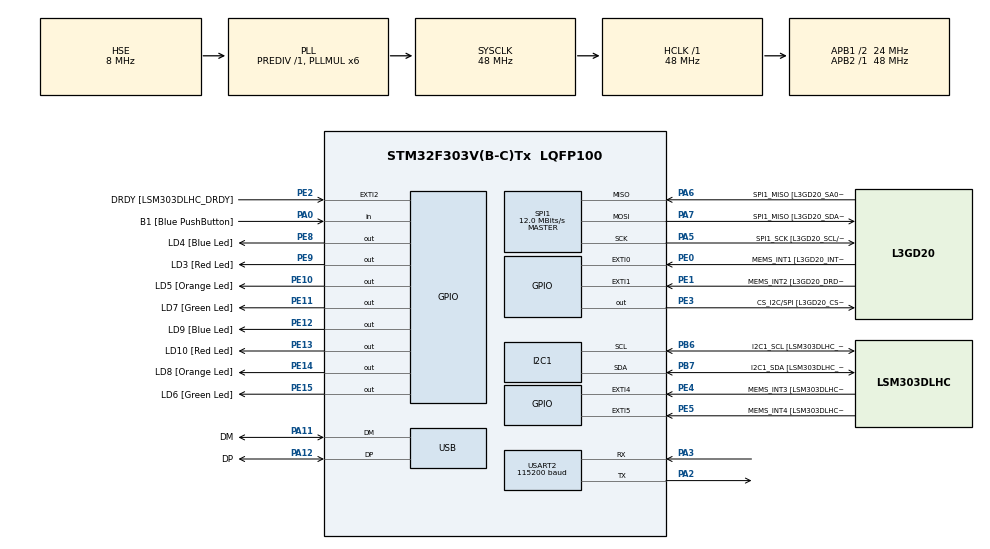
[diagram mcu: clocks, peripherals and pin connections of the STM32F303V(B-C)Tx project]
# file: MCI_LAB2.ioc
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I2C1.Timing=0x00201D2B
I2C1.Timing-I2C=0x2000090E
Mcu.Family=STM32F3
Mcu.Name=STM32F303V(B-C)Tx
Mcu.Package=LQFP100
NVIC.PriorityGroup=NVIC_PRIORITYGROUP_0
PA0.GPIO_Label=B1 [Blue PushButton]
PA0.Signal=GPIO_Input
PA11.GPIO_Label=DM
PA11.Mode=Device
PA11.Signal=USB_DM
PA12.GPIO_Label=DP
PA12.Mode=Device
PA12.Signal=USB_DP
PA13.GPIO_Label=SWDIO
PA13.Mode=Serial_Wire
PA13.Signal=SYS_JTMS-SWDIO
PA14.GPIO_Label=SWCLK
PA14.Mode=Serial_Wire
PA14.Signal=SYS_JTCK-SWCLK
PA2.Mode=Asynchronous
PA2.Signal=USART2_TX
PA3.Mode=Asynchronous
PA3.Signal=USART2_RX
PA5.GPIO_Label=SPI1_SCK [L3GD20_SCL/SPC]
PA5.Mode=Full_Duplex_Master
PA5.Signal=SPI1_SCK
PA6.GPIO_Label=SPI1_MISO [L3GD20_SA0/SDO]
PA6.Mode=Full_Duplex_Master
PA6.Signal=SPI1_MISO
PA7.GPIO_Label=SPI1_MISO [L3GD20_SDA/SDI/SDO]
PA7.Mode=Full_Duplex_Master
PA7.Signal=SPI1_MOSI
PB3.GPIO_Label=SWO
PB3.Signal=SYS_JTDO-TRACESWO
PB6.GPIO_Label=I2C1_SCL [LSM303DLHC_SCL]
PB6.GPIO_Pu=GPIO_PULLUP
PB6.Mode=I2C
PB6.Signal=I2C1_SCL
PB7.GPIO_Label=I2C1_SDA [LSM303DLHC_SDA]
PB7.GPIO_Pu=GPIO_PULLUP
PB7.Mode=I2C
PB7.Signal=I2C1_SDA
PC14-OSC32_IN.GPIO_Label=OSC32_IN
PC14-OSC32_IN.Signal=RCC_OSC32_IN
PC15-OSC32_OUT.GPIO_Label=OSC32_OUT
PC15-OSC32_OUT.Signal=RCC_OSC32_OUT
PE0.GPIO_Label=MEMS_INT1 [L3GD20_INT1]
PE0.GPIO_ModeDefaultEXTI=GPIO_MODE_EVT_RISING
PE0.Signal=GPXTI0
PE1.GPIO_Label=MEMS_INT2 [L3GD20_DRDY/INT2]
PE1.GPIO_ModeDefaultEXTI=GPIO_MODE_EVT_RISING
PE1.Signal=GPXTI1
PE10.GPIO_Label=LD5 [Orange Led]
PE10.Signal=GPIO_Output
PE11.GPIO_Label=LD7 [Green Led]
PE11.Signal=GPIO_Output
PE12.GPIO_Label=LD9 [Blue Led]
PE12.Signal=GPIO_Output
PE13.GPIO_Label=LD10 [Red Led]
PE13.Signal=GPIO_Output
PE14.GPIO_Label=LD8 [Orange Led]
PE14.Signal=GPIO_Output
PE15.GPIO_Label=LD6 [Green Led]
PE15.Signal=GPIO_Output
PE2.GPIO_Label=DRDY [LSM303DLHC_DRDY]
PE2.GPIO_ModeDefaultEXTI=GPIO_MODE_EVT_RISING
PE2.Signal=GPXTI2
PE3.GPIO_Label=CS_I2C/SPI [L3GD20_CS_I2C/SPI]
PE3.Signal=GPIO_Output
PE4.GPIO_Label=MEMS_INT3 [LSM303DLHC_INT1]
PE4.GPIO_ModeDefaultEXTI=GPIO_MODE_EVT_RISING
PE4.Signal=GPXTI4
PE5.GPIO_Label=MEMS_INT4 [LSM303DLHC_INT2]
PE5.GPIO_ModeDefaultEXTI=GPIO_MODE_EVT_RISING
PE5.Signal=GPXTI5
PE8.GPIO_Label=LD4 [Blue Led]
PE8.Signal=GPIO_Output
PE9.GPIO_Label=LD3 [Red Led]
PE9.Signal=GPIO_Output
PF0-OSC_IN.GPIO_Label=OSC_IN
PF0-OSC_IN.Mode=HSE-External-Clock-Source
PF0-OSC_IN.Signal=RCC_OSC_IN
PF1-OSC_OUT.GPIO_Label=OSC_OUT
PF1-OSC_OUT.Signal=RCC_OSC_OUT
ProjectManager.HeapSize=0x200
ProjectManager.StackSize=0x400
ProjectManager.TargetToolchain=CMake
RCC.AHBFreq_Value=48000000
RCC.APB1CLKDivider=RCC_HCLK_DIV2
RCC.APB1Freq_Value=24000000
RCC.APB1TimFreq_Value=48000000
RCC.APB2Freq_Value=48000000
RCC.APB2TimFreq_Value=48000000
RCC.CortexFreq_Value=48000000
RCC.HCLKFreq_Value=48000000
RCC.HSE_VALUE=8000000
RCC.HSI_VALUE=8000000
RCC.LSE_VALUE=32768
RCC.PLLMUL=RCC_PLL_MUL6
RCC.SYSCLKFreq_VALUE=48000000
RCC.SYSCLKSourceVirtual=RCC_SYSCLKSOURCE_PLLCLK
RCC.USBFreq_Value=48000000
SPI1.BaudRatePrescaler=SPI_BAUDRATEPRESCALER_4
SPI1.BaudRatePrescaler-Full_Duplex_Master=SPI_BAUDRATEPRESCALER_2
SPI1.CalculateBaudRate=12.0 MBits/s
SPI1.CalculateBaudRate-Full_Duplex_Master=24.0 MBits/s
SPI1.Direction=SPI_DIRECTION_2LINES
SPI1.Mode=SPI_MODE_MASTER
SPI1.Mode-Full_Duplex_Master=SPI_MODE_MASTER
SPI1.VirtualType=VM_MASTER
USART2.BaudRate=115200
USART2.VirtualMode-Asynchronous=VM_ASYNC
board=STM32F3DISCOVERY

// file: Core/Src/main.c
/* USER CODE BEGIN Header */
/**
  ******************************************************************************
  * @file           : main.c
  * @brief          : Main program body
  ******************************************************************************
  * @attention
  *
  * Copyright (c) 2026 STMicroelectronics.
  * All rights reserved.
  *
  * This software is licensed under terms that can be found in the LICENSE file
  * in the root directory of this software component.
  * If no LICENSE file comes with this software, it is provided AS-IS.
  *
  ******************************************************************************
  */
/* USER CODE END Header */
#include "main.h"

/* USER CODE BEGIN Includes */
#include "stdarg.h"
#include "stdio.h"
#include "stm32f3xx_hal.h"
#include "string.h"
#include "stdlib.h"
extern UART_HandleTypeDef huart2;

/* USER CODE END Includes */

/* USER CODE BEGIN PD */
void myPrintf(const char *fmt, ...)
{
  char buffer[100];
  va_list args;
  va_start(args, fmt);
  vsnprintf(buffer, sizeof(buffer), fmt, args);
  va_end(args);
  HAL_UART_Transmit(&huart2, (uint8_t *)buffer, strlen(buffer), HAL_MAX_DELAY);
}
/* USER CODE END PD */

I2C_HandleTypeDef hi2c1;

SPI_HandleTypeDef hspi1;

UART_HandleTypeDef huart2;

PCD_HandleTypeDef hpcd_USB_FS;

void SystemClock_Config(void);
static void MX_GPIO_Init(void);
static void MX_I2C1_Init(void);
static void MX_SPI1_Init(void);
static void MX_USART2_UART_Init(void);
static void MX_USB_PCD_Init(void);

int main(void)
{

  /* MCU Configuration--------------------------------------------------------*/

  /* Reset of all peripherals, Initializes the Flash interface and the Systick. */
  HAL_Init();

  /* Configure the system clock */
  SystemClock_Config();

  /* Initialize all configured peripherals */
  MX_GPIO_Init();
  MX_I2C1_Init();
  MX_SPI1_Init();
  MX_USART2_UART_Init();
  MX_USB_PCD_Init();

  /* Infinite loop */
  while (1)
  {
    // HAL_UART_Transmit(&huart2, (uint8_t *)"Hello, World!", 13, HAL_MAX_DELAY);

    // char str[] = "Microcontrollers";
    // int key = 10462;

    // for (int i = 0; i < strlen(str); i++)
    // {
    //     str[i] = str[i] + (key % 256);
    // }

    // myPrintf("Encrypted String: %s\r\n", str);
    // HAL_Delay(100);

    // for (int i = 0; i < strlen(str); i++)
    // {
    //     str[i] = str[i] - (key % 256);
    // }

    // myPrintf("Decrypted String: %s\r\n", str);
    // HAL_Delay(100);

    myPrintf("Hello, World!\r\n");

    char str[] = "Microcontrollers";
    int key = 10462;

    // Encrypt
    for (int i = 0; i < strlen(str); i++)
    {
        str[i] = str[i] + (key % 256);
    }
    myPrintf("Encrypted String: %s\r\n", str);
    HAL_Delay(100);

    // Decrypt
    for (int i = 0; i < strlen(str); i++)
    {
        str[i] = str[i] - (key % 256);
    }
    myPrintf("Decrypted String: %s\r\n", str);
    HAL_Delay(100);

  }
}

void SystemClock_Config(void)
{
  RCC_OscInitTypeDef RCC_OscInitStruct = {0};
  RCC_ClkInitTypeDef RCC_ClkInitStruct = {0};
  RCC_PeriphCLKInitTypeDef PeriphClkInit = {0};

  /** Initializes the RCC Oscillators according to the specified parameters
  * in the RCC_OscInitTypeDef structure.
  */
  RCC_OscInitStruct.OscillatorType = RCC_OSCILLATORTYPE_HSI|RCC_OSCILLATORTYPE_HSE;
  RCC_OscInitStruct.HSEState = RCC_HSE_BYPASS;
  RCC_OscInitStruct.HSEPredivValue = RCC_HSE_PREDIV_DIV1;
  RCC_OscInitStruct.HSIState = RCC_HSI_ON;
  RCC_OscInitStruct.HSICalibrationValue = RCC_HSICALIBRATION_DEFAULT;
  RCC_OscInitStruct.PLL.PLLState = RCC_PLL_ON;
  RCC_OscInitStruct.PLL.PLLSource = RCC_PLLSOURCE_HSE;
  RCC_OscInitStruct.PLL.PLLMUL = RCC_PLL_MUL6;
  if (HAL_RCC_OscConfig(&RCC_OscInitStruct) != HAL_OK)
  {
    Error_Handler();
  }

  /** Initializes the CPU, AHB and APB buses clocks
  */
  RCC_ClkInitStruct.ClockType = RCC_CLOCKTYPE_HCLK|RCC_CLOCKTYPE_SYSCLK
                              |RCC_CLOCKTYPE_PCLK1|RCC_CLOCKTYPE_PCLK2;
  RCC_ClkInitStruct.SYSCLKSource = RCC_SYSCLKSOURCE_PLLCLK;
  RCC_ClkInitStruct.AHBCLKDivider = RCC_SYSCLK_DIV1;
  RCC_ClkInitStruct.APB1CLKDivider = RCC_HCLK_DIV2;
  RCC_ClkInitStruct.APB2CLKDivider = RCC_HCLK_DIV1;

  if (HAL_RCC_ClockConfig(&RCC_ClkInitStruct, FLASH_LATENCY_1) != HAL_OK)
  {
    Error_Handler();
  }
  PeriphClkInit.PeriphClockSelection = RCC_PERIPHCLK_USB|RCC_PERIPHCLK_USART2
                              |RCC_PERIPHCLK_I2C1;
  PeriphClkInit.Usart2ClockSelection = RCC_USART2CLKSOURCE_PCLK1;
  PeriphClkInit.I2c1ClockSelection = RCC_I2C1CLKSOURCE_HSI;
  PeriphClkInit.USBClockSelection = RCC_USBCLKSOURCE_PLL;
  if (HAL_RCCEx_PeriphCLKConfig(&PeriphClkInit) != HAL_OK)
  {
    Error_Handler();
  }
}

static void MX_I2C1_Init(void)
{

  hi2c1.Instance = I2C1;
  hi2c1.Init.Timing = 0x00201D2B;
  hi2c1.Init.OwnAddress1 = 0;
  hi2c1.Init.AddressingMode = I2C_ADDRESSINGMODE_7BIT;
  hi2c1.Init.DualAddressMode = I2C_DUALADDRESS_DISABLE;
  hi2c1.Init.OwnAddress2 = 0;
  hi2c1.Init.OwnAddress2Masks = I2C_OA2_NOMASK;
  hi2c1.Init.GeneralCallMode = I2C_GENERALCALL_DISABLE;
  hi2c1.Init.NoStretchMode = I2C_NOSTRETCH_DISABLE;
  if (HAL_I2C_Init(&hi2c1) != HAL_OK)
  {
    Error_Handler();
  }

  /** Configure Analogue filter
  */
  if (HAL_I2CEx_ConfigAnalogFilter(&hi2c1, I2C_ANALOGFILTER_ENABLE) != HAL_OK)
  {
    Error_Handler();
  }

  /** Configure Digital filter
  */
  if (HAL_I2CEx_ConfigDigitalFilter(&hi2c1, 0) != HAL_OK)
  {
    Error_Handler();
  }

}

static void MX_SPI1_Init(void)
{

  /* SPI1 parameter configuration*/
  hspi1.Instance = SPI1;
  hspi1.Init.Mode = SPI_MODE_MASTER;
  hspi1.Init.Direction = SPI_DIRECTION_2LINES;
  hspi1.Init.DataSize = SPI_DATASIZE_4BIT;
  hspi1.Init.CLKPolarity = SPI_POLARITY_LOW;
  hspi1.Init.CLKPhase = SPI_PHASE_1EDGE;
  hspi1.Init.NSS = SPI_NSS_SOFT;
  hspi1.Init.BaudRatePrescaler = SPI_BAUDRATEPRESCALER_4;
  hspi1.Init.FirstBit = SPI_FIRSTBIT_MSB;
  hspi1.Init.TIMode = SPI_TIMODE_DISABLE;
  hspi1.Init.CRCCalculation = SPI_CRCCALCULATION_DISABLE;
  hspi1.Init.CRCPolynomial = 7;
  hspi1.Init.CRCLength = SPI_CRC_LENGTH_DATASIZE;
  hspi1.Init.NSSPMode = SPI_NSS_PULSE_ENABLE;
  if (HAL_SPI_Init(&hspi1) != HAL_OK)
  {
    Error_Handler();
  }

}

static void MX_USART2_UART_Init(void)
{

  huart2.Instance = USART2;
  huart2.Init.BaudRate = 115200;
  huart2.Init.WordLength = UART_WORDLENGTH_8B;
  huart2.Init.StopBits = UART_STOPBITS_1;
  huart2.Init.Parity = UART_PARITY_NONE;
  huart2.Init.Mode = UART_MODE_TX_RX;
  huart2.Init.HwFlowCtl = UART_HWCONTROL_NONE;
  huart2.Init.OverSampling = UART_OVERSAMPLING_16;
  huart2.Init.OneBitSampling = UART_ONE_BIT_SAMPLE_DISABLE;
  huart2.AdvancedInit.AdvFeatureInit = UART_ADVFEATURE_NO_INIT;
  if (HAL_UART_Init(&huart2) != HAL_OK)
  {
    Error_Handler();
  }

}

static void MX_USB_PCD_Init(void)
{

  hpcd_USB_FS.Instance = USB;
  hpcd_USB_FS.Init.dev_endpoints = 8;
  hpcd_USB_FS.Init.speed = PCD_SPEED_FULL;
  hpcd_USB_FS.Init.phy_itface = PCD_PHY_EMBEDDED;
  hpcd_USB_FS.Init.low_power_enable = DISABLE;
  hpcd_USB_FS.Init.battery_charging_enable = DISABLE;
  if (HAL_PCD_Init(&hpcd_USB_FS) != HAL_OK)
  {
    Error_Handler();
  }

}

static void MX_GPIO_Init(void)
{
  GPIO_InitTypeDef GPIO_InitStruct = {0};
  /* USER CODE BEGIN MX_GPIO_Init_1 */
  /* --- USART2 pins PA2=TX, PA3=RX --- */

  // PA2 -> TX
  GPIO_InitStruct.Pin = GPIO_PIN_2;
  GPIO_InitStruct.Mode = GPIO_MODE_AF_PP;           // Alternate function push-pull
  GPIO_InitStruct.Pull = GPIO_NOPULL;
  GPIO_InitStruct.Speed = GPIO_SPEED_FREQ_HIGH;
  GPIO_InitStruct.Alternate = GPIO_AF7_USART2;
  HAL_GPIO_Init(GPIOA, &GPIO_InitStruct);

  // PA3 -> RX
  GPIO_InitStruct.Pin = GPIO_PIN_3;
  GPIO_InitStruct.Mode = GPIO_MODE_AF_PP;           // Alternate function push-pull
  HAL_GPIO_Init(GPIOA, &GPIO_InitStruct);

  /* USER CODE END MX_GPIO_Init_1 */

  /* GPIO Ports Clock Enable */
  __HAL_RCC_GPIOE_CLK_ENABLE();
  __HAL_RCC_GPIOC_CLK_ENABLE();
  __HAL_RCC_GPIOF_CLK_ENABLE();
  __HAL_RCC_GPIOA_CLK_ENABLE();
  __HAL_RCC_GPIOB_CLK_ENABLE();

  /*Configure GPIO pin Output Level */
  HAL_GPIO_WritePin(GPIOE, CS_I2C_SPI_Pin|LD4_Pin|LD3_Pin|LD5_Pin
                          |LD7_Pin|LD9_Pin|LD10_Pin|LD8_Pin
                          |LD6_Pin, GPIO_PIN_RESET);

  /*Configure GPIO pins : DRDY_Pin MEMS_INT3_Pin MEMS_INT4_Pin MEMS_INT1_Pin
                           MEMS_INT2_Pin */
  GPIO_InitStruct.Pin = DRDY_Pin|MEMS_INT3_Pin|MEMS_INT4_Pin|MEMS_INT1_Pin
                          |MEMS_INT2_Pin;
  GPIO_InitStruct.Mode = GPIO_MODE_EVT_RISING;
  GPIO_InitStruct.Pull = GPIO_NOPULL;
  HAL_GPIO_Init(GPIOE, &GPIO_InitStruct);

  /*Configure GPIO pins : CS_I2C_SPI_Pin LD4_Pin LD3_Pin LD5_Pin
                           LD7_Pin LD9_Pin LD10_Pin LD8_Pin
                           LD6_Pin */
  GPIO_InitStruct.Pin = CS_I2C_SPI_Pin|LD4_Pin|LD3_Pin|LD5_Pin
                          |LD7_Pin|LD9_Pin|LD10_Pin|LD8_Pin
                          |LD6_Pin;
  GPIO_InitStruct.Mode = GPIO_MODE_OUTPUT_PP;
  GPIO_InitStruct.Pull = GPIO_NOPULL;
  GPIO_InitStruct.Speed = GPIO_SPEED_FREQ_LOW;
  HAL_GPIO_Init(GPIOE, &GPIO_InitStruct);

  /*Configure GPIO pin : B1_Pin */
  GPIO_InitStruct.Pin = B1_Pin;
  GPIO_InitStruct.Mode = GPIO_MODE_INPUT;
  GPIO_InitStruct.Pull = GPIO_NOPULL;
  HAL_GPIO_Init(B1_GPIO_Port, &GPIO_InitStruct);

}

void Error_Handler(void)
{
  __disable_irq();
  while (1)
  {
  }
}
